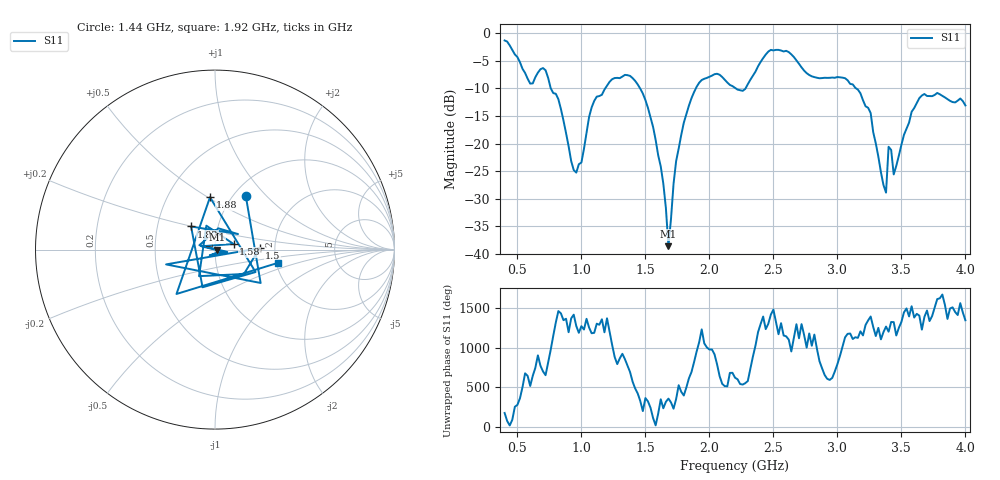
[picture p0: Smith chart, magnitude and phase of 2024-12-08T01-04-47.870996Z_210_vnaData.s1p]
!Created with skrf (http://scikit-rf.org).
# Hz S RI R 50.0
!freq ReS11 ImS11
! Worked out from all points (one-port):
!   181 points, 400 MHz to 4 GHz, reference 50 ohm
!   lowest |S11| = -38.6 dB at 1.68 GHz (marker M1), VSWR 1.02, Z = 51.2 - j0.103 ohm
!   |S11| at or under -10 dB: 761.4 MHz to 1.186 GHz (424.2 MHz wide, 43.6 % of centre); 1.459 GHz to 1.894 GHz (434.7 MHz wide, 25.9 % of centre); 3.147 GHz to end of sweep (the widest 3 of 4)
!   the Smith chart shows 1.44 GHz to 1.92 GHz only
!   S11 on the Smith chart (normalised r, x): 1.44 GHz: 1.14, +0.77; 1.5 GHz: 1.66, +0.03; 1.58 GHz: 1.23, +0.08; 1.82 GHz: 0.74, +0.20; 1.88 GHz: 0.80, +0.51; 1.92 GHz: 2.03, -0.35
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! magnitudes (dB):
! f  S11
! 400 MHz  -1.3
! 600 MHz  -9.1
! 720 MHz  -6.7
! 860 MHz  -15.8
! 960 MHz  -25.2
! 1.1 GHz  -12.3
! 1.3 GHz  -8.1
! 1.44 GHz  -9.3
! 1.5 GHz  -12.1
! 1.58 GHz  -19.3
! 1.64 GHz  -27.3
! 1.68 GHz  -38.6
! 1.72 GHz  -27.2
! 1.76 GHz  -20.9
! 1.82 GHz  -14.6
! 1.88 GHz  -10.7
! 1.92 GHz  -9.0
! 2.2 GHz  -9.9
! 2.48 GHz  -3.0
! 2.66 GHz  -4.3
! 3.1 GHz  -9.2
! 3.26 GHz  -14.5
! 3.38 GHz  -28.9
! 3.4 GHz  -20.6
! 3.44 GHz  -25.6
! 3.56 GHz  -16.2
! 3.68 GHz  -11.0
! 4 GHz  -13.1
